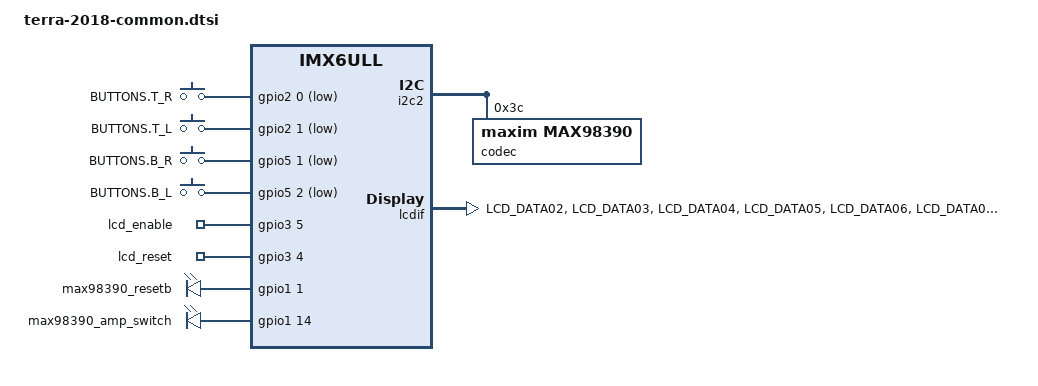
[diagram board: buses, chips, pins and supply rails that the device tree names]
/*
 * Copyright (C) 2020 CompeGPS Team S.L.
 * All rights reserved
 *
 */
/dts-v1/;

#include <dt-bindings/input/input.h>
#include "imx6ull.dtsi"
#include "imx6ul-imx6ull-var-dart-common.dtsi"

&i2c2 {
     codec: max98390@3c {
		compatible = "maxim,max98390";
		reg = <0x3C>;
		maxim,temperature_calib = <1024>;
        maxim,r0_calib = <100232>;
     };
};

/ {
	keys {
		compatible = "gpio-keys";
		pinctrl-names = "default";
		pinctrl-0 = <&pinctrl_keys>;

		button_tr {
			label = "BUTTONS.T_R";
			gpios = <&gpio2 0 GPIO_ACTIVE_LOW>;
			linux,code = <KEY_F1>;
			gpio-key,wakeup;
		};

		button_tl {
			label = "BUTTONS.T_L";
			gpios = <&gpio2 1 GPIO_ACTIVE_LOW>;
			linux,code = <KEY_F2>;
			gpio-key,wakeup;
		};

		button_br {
			label = "BUTTONS.B_R";
			gpios = <&gpio5 1 GPIO_ACTIVE_LOW>;
			linux,code = <KEY_F4>;
			gpio-key,wakeup;
		};

		button_bl {
			label = "BUTTONS.B_L";
			gpios = <&gpio5 2 GPIO_ACTIVE_LOW>;
			linux,code = <KEY_F3>;
			gpio-key,wakeup;
		};	
	};

	lcd-control {
		compatible = "gpio-leds";
		lcd_enable {
			label = "lcd_enable";
			gpios = <&gpio3 5 GPIO_ACTIVE_HIGH>;
			default-state = "on";
		};
		lcd_reset {
			label = "lcd_reset";
			gpios = <&gpio3 4 GPIO_ACTIVE_HIGH>;
			default-state = "on";
		};
		resetb {
			label = "max98390_resetb";
			gpios = <&gpio1 1 GPIO_ACTIVE_HIGH>;
			default-state = "on";
		};
		amp_switch {
			label = "max98390_amp_switch";
			gpios = <&gpio1 14 GPIO_ACTIVE_HIGH>;
			default-state = "on";
		};
	};

	sound {
		compatible = "fsl,imx-max98390-audio";
		ssi-controller = <&sai2>;
		codec = <&codec>;
	};

};

&lcdif {
	pinctrl-names = "default";
	pinctrl-0 = <&pinctrl_lcdif_dat
		     &pinctrl_lcdif_ctrl>;
	display = <&display0>;
	status = "okay";

	display0: display {
		bits-per-pixel = <32>;
		bus-width = <24>;
		
		display-timings {
			native-mode = <&timing0>;
			timing0: timing0 {
				clock-frequency =<24000000>;
				hactive = <480>;
				vactive = <640>;
				hfront-porch = <10>;
				hback-porch = <8>;
				hsync-len = <32>;
				vback-porch = <13>;
				vfront-porch = <13>;
				vsync-len = <5>;
				hsync-active = <0>;
				vsync-active = <0>;
				de-active = <1>;
				pixelclk-active = <0>;
			};
		};
	};
};



&iomuxc {
	pinctrl-names = "default";
	pinctrl-0 = <&pinctrl_hog_1 &pinctrl_hog_2>;
	imx6ul-evk {	
		pinctrl_hog_2: hoggrp-2 {
			fsl,pins = <				
				/*-------------------------------audio--------------------------------*/										
				MX6UL_PAD_JTAG_TCK__GPIO1_IO14			0x1b0b0 /* AMP_SWITCH */
				MX6UL_PAD_GPIO1_IO01__GPIO1_IO01		0x1b0b1 /* RESETB */
			>;			
		};
		
		pinctrl_lcdif_ctrl: lcdifctrlgrp {
			fsl,pins = <
				MX6UL_PAD_LCD_CLK__LCDIF_CLK		0x79
				MX6UL_PAD_LCD_ENABLE__LCDIF_ENABLE	0x79
				MX6UL_PAD_LCD_HSYNC__LCDIF_HSYNC	0x79
				MX6UL_PAD_LCD_VSYNC__LCDIF_VSYNC	0x79
				MX6UL_PAD_LCD_RESET__GPIO3_IO04		0x1b0b1
				MX6UL_PAD_LCD_DATA00__GPIO3_IO05	0x1b0b1
			>;
		};

		pinctrl_lcdif_dat: lcdifdatgrp {
			fsl,pins = <
				MX6UL_PAD_LCD_DATA02__LCDIF_DATA02	0x79
				MX6UL_PAD_LCD_DATA03__LCDIF_DATA03	0x79
				MX6UL_PAD_LCD_DATA04__LCDIF_DATA04	0x79
				MX6UL_PAD_LCD_DATA05__LCDIF_DATA05	0x79
				MX6UL_PAD_LCD_DATA06__LCDIF_DATA06	0x79
				MX6UL_PAD_LCD_DATA07__LCDIF_DATA07	0x79
				MX6UL_PAD_LCD_DATA10__LCDIF_DATA10	0x79
				MX6UL_PAD_LCD_DATA11__LCDIF_DATA11	0x79
				MX6UL_PAD_LCD_DATA12__LCDIF_DATA12	0x79
				MX6UL_PAD_LCD_DATA13__LCDIF_DATA13	0x79
				MX6UL_PAD_LCD_DATA14__LCDIF_DATA14	0x79
				MX6UL_PAD_LCD_DATA15__LCDIF_DATA15	0x79
				MX6UL_PAD_LCD_DATA18__LCDIF_DATA18	0x79
				MX6UL_PAD_LCD_DATA19__LCDIF_DATA19	0x79
				MX6UL_PAD_LCD_DATA20__LCDIF_DATA20	0x79
				MX6UL_PAD_LCD_DATA21__LCDIF_DATA21	0x79
				MX6UL_PAD_LCD_DATA22__LCDIF_DATA22	0x79
				MX6UL_PAD_LCD_DATA23__LCDIF_DATA23	0x79
			>;
		};
	
		pinctrl_keys: keys1grp {
			fsl,pins = <
				MX6UL_PAD_ENET1_RX_DATA1__GPIO2_IO01	0x1b0b0 
				MX6UL_PAD_ENET1_RX_DATA0__GPIO2_IO00	0x1b0b0 
				MX6UL_PAD_SNVS_TAMPER1__GPIO5_IO01		0x110b0
				MX6UL_PAD_SNVS_TAMPER2__GPIO5_IO02		0x110b0				
			>;
		};	
	};
};	

